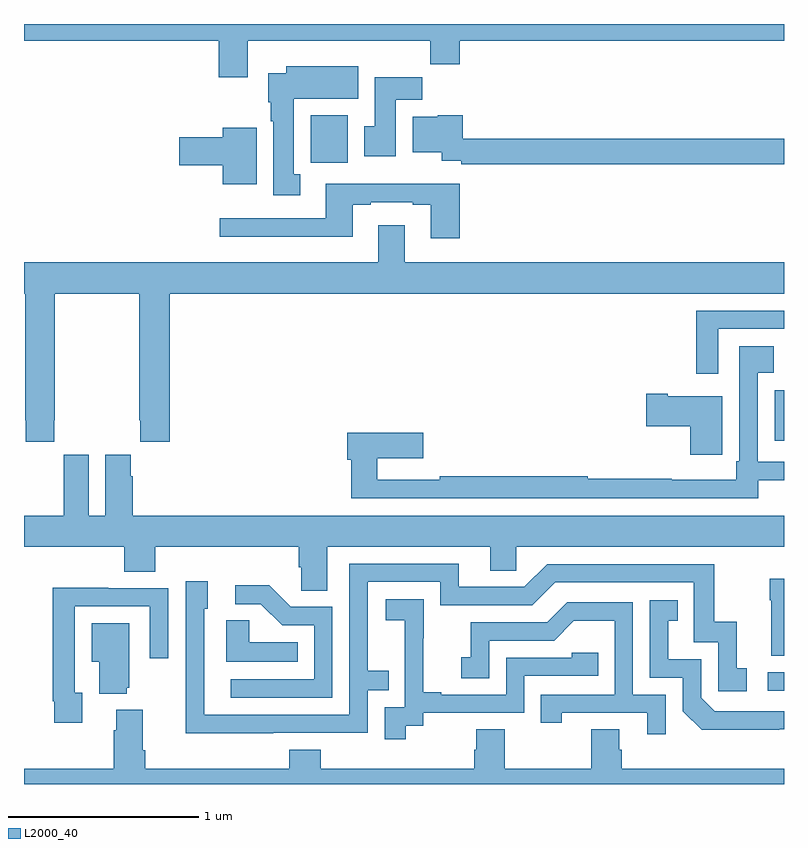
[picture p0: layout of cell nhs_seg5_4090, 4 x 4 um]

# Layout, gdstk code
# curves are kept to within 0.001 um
import gdstk
lib = gdstk.Library(unit=1e-6, precision=1e-09)
def R(c, l, rs):  # rectangles x0, y0, x1, y1
    for r in rs: c.add(gdstk.rectangle(r[:2], r[2:], *l))
def P(c, l, *ps):  # polygons
    for p in ps: c.add(gdstk.Polygon(p, *l))
L2000_40 = (2000, 40)

nhs_seg5_4090 = lib.new_cell('nhs_seg5_4090')
R(nhs_seg5_4090, L2000_40, [(354.915,901.29,355,901.386), (354.95,902.606,355,902.872), (352.509,904.068,352.705,904.318)])
P(nhs_seg5_4090, L2000_40, [(355,904.799),(351,904.799),(351,904.712),(352.025,904.712),(352.025,904.518),(352.177,904.518),(352.177,904.712),(353.137,904.712),(353.137,904.588),(353.294,904.588),(353.294,904.712),(355,904.712)],
  [(352.453,904.009),(352.42,904.009),(352.42,904.406),(352.759,904.406),(352.759,904.576),(352.379,904.576),(352.379,904.54),(352.286,904.54),(352.286,904.386),(352.298,904.386),(352.298,904.286),(352.313,904.286),(352.313,903.897),(352.453,903.897)],
  [(352.957,904.4),(353.096,904.4),(353.096,904.518),(352.847,904.518),(352.847,904.26),(352.79,904.26),(352.79,904.104),(352.957,904.104)],
  [(355,904.196),(353.308,904.196),(353.308,904.318),(353.178,904.318),(353.178,904.312),(353.045,904.312),(353.045,904.124),(353.199,904.124),(353.199,904.08),(353.302,904.08),(353.302,904.06),(355,904.06)],
  [(352.225,904.252),(352.046,904.252),(352.046,904.202),(351.816,904.202),(351.816,904.055),(352.046,904.055),(352.046,903.956),(352.225,903.956)],
  [(353.294,903.958),(352.589,903.958),(352.589,903.777),(352.029,903.777),(352.029,903.68),(352.729,903.68),(352.729,903.849),(352.825,903.849),(352.825,903.861),(353.045,903.861),(353.045,903.849),(353.141,903.849),(353.141,903.672),(353.294,903.672)],
  [(351.159,902.713),(351.162,902.713),(351.162,903.38),(351.607,903.38),(351.607,902.713),(351.613,902.713),(351.613,902.601),(351.767,902.601),(351.767,903.38),(355,903.38),(355,903.544),(353.005,903.544),(353.005,903.739),(352.865,903.739),(352.865,903.544),(351,903.544),(351,903.38),(351.007,903.38),(351.007,902.713),(351.009,902.713),(351.009,902.601),(351.159,902.601)],
  [(354.654,903.195),(355,903.195),(355,903.291),(354.538,903.291),(354.538,902.958),(354.654,902.958)],
  [(354.864,902.399),(355,902.399),(355,902.496),(354.861,902.496),(354.861,902.963),(354.946,902.963),(354.946,903.103),(354.765,903.103),(354.765,902.497),(354.749,902.497),(354.749,902.401),(354.41,902.401),(354.41,902.405),(353.968,902.405),(353.968,902.42),(353.188,902.42),(353.188,902.4),(352.859,902.4),(352.859,902.513),(353.101,902.513),(353.101,902.648),(352.7,902.648),(352.7,902.506),(352.723,902.506),(352.723,902.304),(354.864,902.304)],
  [(354.675,902.635),(354.676,902.635),(354.676,902.839),(354.388,902.839),(354.388,902.852),(354.276,902.852),(354.276,902.681),(354.506,902.681),(354.506,902.532),(354.675,902.532)],
  [(352.597,902.048),(353.453,902.048),(353.453,901.921),(353.592,901.921),(353.592,902.048),(355,902.048),(355,902.212),(351.572,902.212),(351.572,902.42),(351.562,902.42),(351.562,902.533),(351.428,902.533),(351.428,902.212),(351.34,902.212),(351.34,902.533),(351.21,902.533),(351.21,902.42),(351.209,902.42),(351.209,902.212),(351,902.212),(351,902.048),(351.527,902.048),(351.527,901.915),(351.692,901.915),(351.692,902.048),(352.445,902.048),(352.445,901.939),(352.458,901.939),(352.458,901.816),(352.597,901.816)],
  [(352.313,901.068),(352.809,901.068),(352.809,901.293),(352.919,901.293),(352.919,901.394),(352.809,901.394),(352.809,901.863),(353.19,901.863),(353.19,901.74),(353.676,901.74),(353.796,901.86),(354.525,901.86),(354.525,901.545),(354.654,901.545),(354.654,901.287),(354.805,901.287),(354.805,901.407),(354.752,901.407),(354.752,901.654),(354.634,901.654),(354.634,901.956),(353.754,901.956),(353.634,901.836),(353.287,901.836),(353.287,901.959),(352.713,901.959),(352.713,901.164),(351.948,901.164),(351.948,901.722),(351.967,901.722),(351.967,901.867),(351.852,901.867),(351.852,901.373),(351.85,901.373),(351.85,901.067)],
  [(355,901.879),(354.925,901.879),(354.925,901.766),(354.932,901.766),(354.932,901.475),(355,901.475)],
  [(352.623,901.731),(352.404,901.731),(352.291,901.844),(352.113,901.844),(352.113,901.746),(352.247,901.746),(352.358,901.635),(352.527,901.635),(352.527,901.35),(352.089,901.35),(352.089,901.254),(352.623,901.254)],
  [(351.307,901.278),(351.267,901.278),(351.267,901.734),(351.663,901.734),(351.663,901.461),(351.759,901.461),(351.759,901.83),(351.443,901.83),(351.443,901.832),(351.151,901.832),(351.151,901.234),(351.159,901.234),(351.159,901.122),(351.307,901.122)],
  [(353.008,901.105),(353.1,901.105),(353.1,901.173),(353.634,901.173),(353.634,901.368),(354.023,901.368),(354.023,901.491),(353.883,901.491),(353.883,901.464),(353.538,901.464),(353.538,901.269),(353.197,901.269),(353.197,901.282),(353.102,901.282),(353.102,901.565),(353.103,901.565),(353.103,901.771),(352.905,901.771),(352.905,901.661),(353.003,901.661),(353.003,901.433),(353.004,901.433),(353.004,901.203),(352.899,901.203),(352.899,901.035),(353.008,901.035)],
  [(354.974,901.086),(355,901.086),(355,901.182),(354.636,901.182),(354.564,901.254),(354.564,901.455),(354.391,901.455),(354.391,901.659),(354.44,901.659),(354.44,901.765),(354.294,901.765),(354.294,901.359),(354.468,901.359),(354.468,901.182),(354.566,901.085)],
  [(354.378,901.269),(354.204,901.269),(354.204,901.755),(353.858,901.755),(353.753,901.65),(353.35,901.65),(353.35,901.465),(353.301,901.465),(353.301,901.356),(353.448,901.356),(353.448,901.554),(353.79,901.554),(353.894,901.658),(354.108,901.658),(354.108,901.269),(353.719,901.269),(353.719,901.122),(353.83,901.122),(353.83,901.173),(354.281,901.173),(354.281,901.062),(354.378,901.062)],
  [(352.442,901.546),(352.185,901.546),(352.185,901.661),(352.064,901.661),(352.064,901.442),(352.442,901.442)],
  [(351.542,901.305),(351.553,901.305),(351.553,901.645),(351.356,901.645),(351.356,901.442),(351.395,901.442),(351.395,901.274),(351.542,901.274)],
  [(355,900.88),(354.146,900.88),(354.146,900.978),(354.133,900.978),(354.133,901.088),(353.986,901.088),(353.986,900.88),(353.529,900.88),(353.529,901.088),(353.381,901.088),(353.381,900.978),(353.369,900.978),(353.369,900.88),(352.562,900.88),(352.562,900.979),(352.397,900.979),(352.397,900.88),(351.638,900.88),(351.638,900.976),(351.625,900.976),(351.625,901.189),(351.485,901.189),(351.485,901.082),(351.473,901.082),(351.473,900.88),(351,900.88),(351,900.799),(355,900.799)])

lib.write_gds('nhs_seg5_4090.gds')
